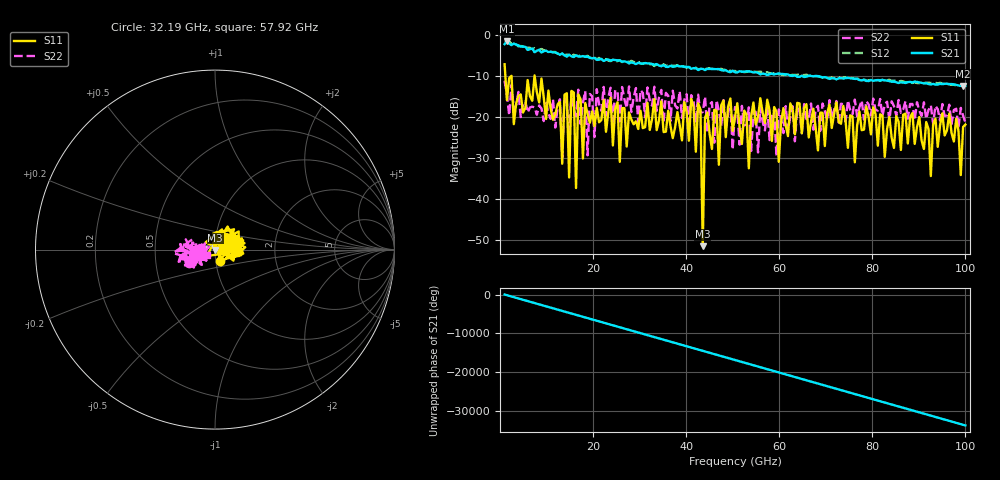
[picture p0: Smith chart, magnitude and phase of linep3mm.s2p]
!Created with skrf (http://scikit-rf.org).
# GHz S RI R 50.0
!freq ReS11 ImS11 ReS21 ImS21 ReS12 ImS12 ReS22 ImS22
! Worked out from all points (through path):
!   201 points, 1 GHz to 100 GHz, reference 50 ohm
!   highest |S21| = -1.51 dB at 1.495 GHz (marker M1); lowest = -12.5 dB at 99.5 GHz (marker M2)
!   lowest |S11| = -51.5 dB at 43.57 GHz (marker M3), VSWR 1.01, Z = 50.1 - j0.254 ohm
!   |S11| at or under -10 dB: 1.161 GHz to 2.459 GHz (1.297 GHz wide, 71.7 % of centre); 2.486 GHz to 7.424 GHz (4.938 GHz wide, 99.7 % of centre); 7.451 GHz to end of sweep
!   |S22| runs from -29.9 to -11.2 dB; largest |S21 - S12| = 0.11
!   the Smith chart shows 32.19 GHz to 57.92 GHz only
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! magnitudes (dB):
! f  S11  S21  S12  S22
! 1 GHz  -7.2  -2.2  -1.3  -11.2
! 1.495 GHz  -15.9  -1.5  -1.5  -14.6
! 8.92 GHz  -10.6  -4.3  -3.4  -17.9
! 13.38 GHz  -31.4  -4.5  -4.6  -29.9
! 14.37 GHz  -14.2  -5.3  -4.7  -16.4
! 14.86 GHz  -34.8  -4.8  -4.9  -25.9
! 15.85 GHz  -14.0  -5.4  -4.8  -18.1
! 16.34 GHz  -37.3  -5.0  -5.1  -19.8
! 16.84 GHz  -14.5  -5.2  -5.2  -13.4
! 17.83 GHz  -30.1  -5.2  -5.3  -16.5
! 18.32 GHz  -16.6  -5.3  -5.3  -13.7
! 18.82 GHz  -19.3  -5.3  -5.1  -29.4
! 19.32 GHz  -21.4  -5.6  -5.5  -14.4
! 34.16 GHz  -20.9  -7.4  -7.4  -15.3
! 43.08 GHz  -18.2  -8.3  -8.3  -19.0
! 43.57 GHz  -51.5  -8.3  -8.1  -18.8
! 44.06 GHz  -20.1  -8.6  -8.4  -15.0
! 50.5 GHz  -20.0  -9.1  -8.8  -17.6
! 67.33 GHz  -18.0  -10.1  -9.9  -23.1
! 83.67 GHz  -20.0  -11.3  -10.9  -20.8
! 99.5 GHz  -22.5  -12.5  -12.4  -19.7
! 100 GHz  -21.9  -12.4  -12.3  -21.4
